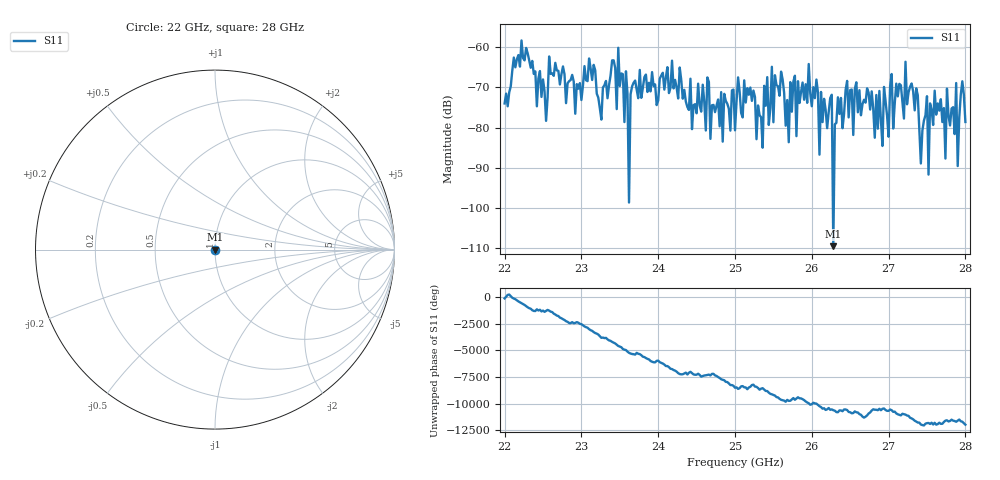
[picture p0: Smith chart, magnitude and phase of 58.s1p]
#  HZ  S  RI  R  50.00
! Rohde & Schwarz ZVA40 4Ports - Version 3.90 - 1145.1110k42 SN: 100403
! Date: 2023-10-04 07:50:39
! Measurement: S12
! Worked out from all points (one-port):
!   301 points, 22 GHz to 28 GHz, reference 50 ohm
!   lowest |S11| = -109.5 dB at 26.28 GHz (marker M1), VSWR 1.00, Z = 50 - j2.56e-06 ohm
!   |S11| at or under -10 dB: start of sweep to end of sweep
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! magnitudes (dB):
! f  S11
! 22 GHz  -74.0
! 22.22 GHz  -58.4
! 22.54 GHz  -78.3
! 22.58 GHz  -62.3
! 22.76 GHz  -64.8
! 22.92 GHz  -76.6
! 23.1 GHz  -62.8
! 23.26 GHz  -78.0
! 23.46 GHz  -75.4
! 23.48 GHz  -60.2
! 23.5 GHz  -69.7
! 24.26 GHz  -72.8
! 25 GHz  -80.7
! 25.04 GHz  -67.5
! 25.28 GHz  -82.9
! 25.42 GHz  -67.5
! 25.44 GHz  -79.4
! 25.48 GHz  -64.9
! 25.5 GHz  -78.7
! 25.52 GHz  -67.0
! 25.7 GHz  -83.7
! 25.76 GHz  -68.6
! 25.8 GHz  -82.1
! 25.96 GHz  -64.2
! 26.28 GHz  -109.5
! 26.5 GHz  -70.7
! 27.26 GHz  -71.2
! 28 GHz  -78.6
